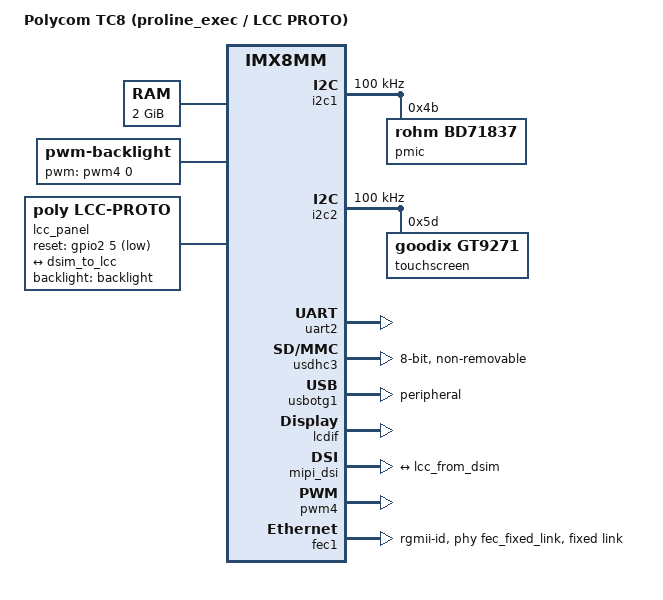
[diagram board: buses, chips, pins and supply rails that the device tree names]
// SPDX-License-Identifier: (GPL-2.0+ OR MIT)
/*
 * Polycom TC8 (codename proline_exec / LCC PROTO) — u-boot minimal DTS
 *
 * Derived from the proven C60 (kepler_proto1) minimal u-boot DTS. Per the
 * stock TC8 DTB (re/firmware/_archive_pre_release/lcc.dtb, decompiled
 * 2026-05-16, model "Polycom TC8 (LCC PROTO)") TC8 mirrors C60:
 *   - 2 GiB LPDDR4 (shared timing table; symlinked board/lpddr4_timing.c)
 *   - PMIC: Rohm BD71837 @ i2c1 0x4b   (stock: i2c@30a20000 pmic@4b)
 *   - usdhc3 (eMMC), non-removable     (stock: mmc@30b60000)
 *   - uart2 console                    (stock stdout = serial@30890000)
 *
 * TC8-specific add vs. the C60 minimal DTS:
 *   - i2c2 + Goodix GT9271 touchscreen @ 0x5d (stock: i2c@30a30000
 *     touchscreen@5d "goodix,gt9271", IRQ GPIO1_IO9, size 800x1280).
 *     F1 (gesture boot-selector) polls the GT9271 status register over
 *     I2C2 — no IRQ/reset GPIO wired here on purpose (stock node has no
 *     reset-gpios; polling avoids the GPIO1_IO9 shared-IRQ with adv7535).
 *     Address quirk: 0x5d default, 0x14 if INT held at reset — handled
 *     in the F1 reader, not here. See ../../../../UNLOCK_SPEC.md §7a.
 *
 * Panel / DSI / backlight are intentionally absent (F2 splash is staged
 * after the panel pipeline is proven — UNLOCK_SPEC.md §5). This DTS only
 * has what u-boot needs to: enumerate eMMC, talk to UART2, reach
 * fastboot/SDP, and probe the touch controller for the boot selector.
 */

/dts-v1/;

#include <dt-bindings/usb/pd.h>
#include <dt-bindings/gpio/gpio.h>
#include "imx8mm.dtsi"

/ {
	model = "Polycom TC8 (proline_exec / LCC PROTO)";
	compatible = "poly,tc8", "fsl,imx8mm";

	chosen {
		stdout-path = &uart2;
	};

	memory@40000000 {
		device_type = "memory";
		reg = <0x0 0x40000000 0 0x80000000>;
	};

	aliases {
		mmc0 = &usdhc3;        /* eMMC */
		serial0 = &uart2;      /* console */
		usbgadget0 = &usbg1;
	};

	/*
	 * DM USB-gadget binding node. ci-udc-otg (UCLASS_USB_GADGET_GENERIC)
	 * only binds to "fsl,imx27-usb-gadget" with a chipidea,usb phandle.
	 * NXP supply this via imx8mm-evk-u-boot.dtsi; our standalone DTS has
	 * no matching -u-boot.dtsi, so without this node fastboot/ums fail
	 * with "No USB device found / USB init failed: -19". This single node
	 * makes the gadget controller enumerate (proven on C60).
	 */
	usbg1: usbg1 {
		compatible = "fsl,imx27-usb-gadget";
		dr_mode = "peripheral";
		chipidea,usb = <&usbotg1>;
		status = "okay";
	};
};

&i2c1 {
	clock-frequency = <100000>;
	pinctrl-names = "default";
	pinctrl-0 = <&pinctrl_i2c1>;
	status = "okay";

	pmic@4b {
		compatible = "rohm,bd71837";
		reg = <0x4b>;
		/* SPL hits this via the legacy power_bd71837_init() path; child
		 * regulators need not be enumerated for boot-time use. */
	};
};

&i2c2 {
	clock-frequency = <100000>;
	pinctrl-names = "default";
	pinctrl-0 = <&pinctrl_i2c2>;
	status = "okay";

	/*
	 * Goodix GT9271 multitouch — F1 boot-selector reads finger count
	 * from status reg 0x814E over I2C2. reg=0x5d is the GT9 reset
	 * default; the device may answer at 0x14 if INT was held at reset
	 * (the F1 reader tries 0x5d then 0x14). No irq/reset GPIO wired:
	 * F1 polls, it does not use the IRQ.
	 */
	touchscreen@5d {
		compatible = "goodix,gt9271";
		reg = <0x5d>;
		touchscreen-size-x = <800>;
		touchscreen-size-y = <1280>;
		status = "okay";
	};
};

&uart2 {
	pinctrl-names = "default";
	pinctrl-0 = <&pinctrl_uart2>;
	status = "okay";
};

&usdhc3 {
	assigned-clocks = <&clk IMX8MM_CLK_USDHC3_ROOT>;
	assigned-clock-rates = <400000000>;
	pinctrl-names = "default", "state_100mhz", "state_200mhz";
	pinctrl-0 = <&pinctrl_usdhc3>;
	pinctrl-1 = <&pinctrl_usdhc3_100mhz>;
	pinctrl-2 = <&pinctrl_usdhc3_200mhz>;
	bus-width = <8>;
	non-removable;
	status = "okay";
};

&usbotg1 {
	/*
	 * Force peripheral mode (no TCPC on this board — same as C60).
	 * With "otg" the ehci-mx6 driver never registers a
	 * UCLASS_USB_GADGET_GENERIC device and fastboot/ums fail with -19.
	 */
	dr_mode = "peripheral";
	srp-disable;
	hnp-disable;
	adp-disable;
	power-active-high;
	disable-over-current;
	status = "okay";
};

&iomuxc {
	pinctrl_i2c1: i2c1grp {
		fsl,pins = <
			MX8MM_IOMUXC_I2C1_SCL_I2C1_SCL                  0x400001c3
			MX8MM_IOMUXC_I2C1_SDA_I2C1_SDA                  0x400001c3
		>;
	};

	pinctrl_i2c2: i2c2grp {
		fsl,pins = <
			MX8MM_IOMUXC_I2C2_SCL_I2C2_SCL                  0x400001c3
			MX8MM_IOMUXC_I2C2_SDA_I2C2_SDA                  0x400001c3
		>;
	};

	pinctrl_uart2: uart2grp {
		fsl,pins = <
			MX8MM_IOMUXC_UART2_RXD_UART2_DCE_RX             0x140
			MX8MM_IOMUXC_UART2_TXD_UART2_DCE_TX             0x140
		>;
	};

	/* Same byte values as EVK — i.MX8MM USDHC3 pads are SoC-fixed */
	pinctrl_usdhc3: usdhc3grp {
		fsl,pins = <
			MX8MM_IOMUXC_NAND_WE_B_USDHC3_CLK               0x190
			MX8MM_IOMUXC_NAND_WP_B_USDHC3_CMD               0x1d0
			MX8MM_IOMUXC_NAND_DATA04_USDHC3_DATA0           0x1d0
			MX8MM_IOMUXC_NAND_DATA05_USDHC3_DATA1           0x1d0
			MX8MM_IOMUXC_NAND_DATA06_USDHC3_DATA2           0x1d0
			MX8MM_IOMUXC_NAND_DATA07_USDHC3_DATA3           0x1d0
			MX8MM_IOMUXC_NAND_RE_B_USDHC3_DATA4             0x1d0
			MX8MM_IOMUXC_NAND_CE2_B_USDHC3_DATA5            0x1d0
			MX8MM_IOMUXC_NAND_CE3_B_USDHC3_DATA6            0x1d0
			MX8MM_IOMUXC_NAND_CLE_USDHC3_DATA7              0x1d0
			MX8MM_IOMUXC_NAND_CE1_B_USDHC3_STROBE           0x190
		>;
	};
	pinctrl_usdhc3_100mhz: usdhc3-100mhzgrp {
		fsl,pins = <
			MX8MM_IOMUXC_NAND_WE_B_USDHC3_CLK               0x194
			MX8MM_IOMUXC_NAND_WP_B_USDHC3_CMD               0x1d4
			MX8MM_IOMUXC_NAND_DATA04_USDHC3_DATA0           0x1d4
			MX8MM_IOMUXC_NAND_DATA05_USDHC3_DATA1           0x1d4
			MX8MM_IOMUXC_NAND_DATA06_USDHC3_DATA2           0x1d4
			MX8MM_IOMUXC_NAND_DATA07_USDHC3_DATA3           0x1d4
			MX8MM_IOMUXC_NAND_RE_B_USDHC3_DATA4             0x1d4
			MX8MM_IOMUXC_NAND_CE2_B_USDHC3_DATA5            0x1d4
			MX8MM_IOMUXC_NAND_CE3_B_USDHC3_DATA6            0x1d4
			MX8MM_IOMUXC_NAND_CLE_USDHC3_DATA7              0x1d4
			MX8MM_IOMUXC_NAND_CE1_B_USDHC3_STROBE           0x194
		>;
	};
	pinctrl_usdhc3_200mhz: usdhc3-200mhzgrp {
		fsl,pins = <
			MX8MM_IOMUXC_NAND_WE_B_USDHC3_CLK               0x196
			MX8MM_IOMUXC_NAND_WP_B_USDHC3_CMD               0x1d6
			MX8MM_IOMUXC_NAND_DATA04_USDHC3_DATA0           0x1d6
			MX8MM_IOMUXC_NAND_DATA05_USDHC3_DATA1           0x1d6
			MX8MM_IOMUXC_NAND_DATA06_USDHC3_DATA2           0x1d6
			MX8MM_IOMUXC_NAND_DATA07_USDHC3_DATA3           0x1d6
			MX8MM_IOMUXC_NAND_RE_B_USDHC3_DATA4             0x1d6
			MX8MM_IOMUXC_NAND_CE2_B_USDHC3_DATA5            0x1d6
			MX8MM_IOMUXC_NAND_CE3_B_USDHC3_DATA6            0x1d6
			MX8MM_IOMUXC_NAND_CLE_USDHC3_DATA7              0x1d6
			MX8MM_IOMUXC_NAND_CE1_B_USDHC3_STROBE           0x196
		>;
	};
};

/*
 * --- F2: panel + backlight (poly,lcc-proto) -------------------------------
 * Stock TC8 lcc.dtb: LCDIF (594/500/200 MHz == imx8mm.dtsi base) ->
 * fsl,imx8mm-mipi-dsim -> panel "poly,lcc-proto" (4-lane, reset GPIO2_IO5
 * active-low) -> PWM4 backlight (period 25000 ns, default 250/255). The
 * base imx8mm.dtsi already carries the lcdif<->dsi endpoint graph; here we
 * enable it and retarget the DSI host compatible to the u-boot sec-dsi
 * host driver ("samsung,sec-mipi-dsi", drivers/video/nxp/imx/
 * sec_mipi_dsim.c). Panel driver = the LCC variant added to
 * raydium-rm67191.c (deterministic RE'd MCS + stock 800x1280/76.5564MHz).
 * On-device (#8): DSIM PMS lock at that pixclk + the two PROVISIONAL
 * pinmux pads below must be confirmed vs stock backlightgrp.
 */
/ {
	backlight: backlight {
		compatible = "pwm-backlight";
		pwms = <&pwm4 0 25000 0>;          /* stock period 0x61a8 = 25000 ns */
		brightness-levels = <0 255>;
		num-interpolated-steps = <255>;
		default-brightness-level = <250>;  /* stock 0xfa */
	};

	/*
	 * Panel must be a TOP-LEVEL node (NOT a &mipi_dsi child w/ reg=<0>):
	 * u-boot video_link (video_link.c video_link_add_node) only chains a
	 * remote it can resolve via find_device_by_ofnode() to a DM-bound
	 * udevice. Top-level nodes are DM-bound during the normal DT scan;
	 * a DSI-host child is not, so it never enters the chain and
	 * rm67191 .get_display_timing is never called. This mirrors NXP's
	 * vendored imx8mm-evk.dtsi `rm67199_panel` structure exactly (the
	 * proven shape for this u-boot's sec_mipi_dsim + video_link).
	 */
	lcc_panel: lcc-panel {
		compatible = "poly,lcc-proto";
		pinctrl-names = "default";
		pinctrl-0 = <&pinctrl_disp_reset>;
		/* rm67191 u-boot driver requests "reset-gpio" (singular) */
		reset-gpio = <&gpio2 5 GPIO_ACTIVE_LOW>;
		dsi-lanes = <4>;
		video-mode = <0>;                  /* 0 = burst (stock: video/burst+HSE) */
		backlight = <&backlight>;
		status = "okay";

		port {
			lcc_from_dsim: endpoint {
				remote-endpoint = <&dsim_to_lcc>;
			};
		};
	};

	/*
	 * UCLASS_DSI_HOST back-end (sec_mipi_dsim, compatible
	 * "samsung,sec-mipi-dsi"). imx_sec_dsim (the VIDEO_BRIDGE bound to
	 * &mipi_dsi) grabs this via uclass_get_device(UCLASS_DSI_HOST, 0).
	 * Must be a SEPARATE top-level node, not the &mipi_dsi compatible.
	 * Verbatim from NXP vendored imx8mm-evk.dtsi dsi_host.
	 */
	dsi_host: dsi-host {
		compatible = "samsung,sec-mipi-dsi";
		status = "okay";
	};
};

/*
 * u-boot drivers/video/mxsfb.c mxs_of_get_timings() REQUIRES the lcdif
 * node to carry `display = <&phandle>` -> a node with `bits-per-pixel`,
 * else it errors "required display property isn't provided" and the
 * video uclass never probes (vtest -> "no video device"). Mirror NXP's
 * own u-boot reference (vendored imx8mm-evk.dtsi &lcdif/display0). The
 * display-timings here are the deterministic RE'd stock lcc-proto values
 * (raydium-rm67191.c lcc_proto_timing) so mxsfb's fallback
 * ofnode_decode_display_timing() gets correct timings even if the
 * video_link panel walk does not resolve.
 */
&lcdif {
	display = <&display0>;
	status = "okay";

	display0: display@0 {
		bits-per-pixel = <24>;
		bus-width = <24>;

		display-timings {
			native-mode = <&timing_lcc>;
			timing_lcc: timing-lcc {
				clock-frequency = <76556400>;
				hactive = <800>;
				vactive = <1280>;
				hfront-porch = <81>;
				hback-porch = <81>;
				hsync-len = <12>;
				vfront-porch = <8>;
				vback-porch = <18>;
				vsync-len = <4>;
				hsync-active = <0>;   /* NHSYNC */
				vsync-active = <0>;   /* NVSYNC */
				de-active = <0>;      /* DE_LOW */
				pixelclk-active = <1>;
			};
		};
	};
};

&mipi_dsi {
	/*
	 * Keep base imx8mm.dtsi compatible "fsl,imx8mm-mipi-dsim" — it binds
	 * the u-boot UCLASS_VIDEO_BRIDGE driver `imx_sec_dsim`
	 * (drivers/video/nxp/imx/sec_dsim_imx.c), which is the device mxsfb
	 * actually drives: video_bridge_attach() -> imx_sec_dsim_attach()
	 * (grabs the panel + UCLASS_DSI_HOST back-end + timings) and
	 * video_bridge_set_backlight() -> panel_enable_backlight() +
	 * dsi_host_enable(). Overriding to "samsung,sec-mipi-dsi" binds the
	 * UCLASS_DSI_HOST back-end DIRECTLY as this node, which mxsfb does
	 * NOT handle -> no bridge/backlight/panel enable -> dark panel.
	 * The DSI_HOST back-end is the separate top-level `dsi-host` node
	 * (added in / {}). This mirrors NXP imx8mm-evk.dtsi exactly.
	 *
	 * base also wires port@0 (input from lcdif). Add the output port
	 * toward the top-level lcc_panel so video_link traverses
	 * lcdif -> imx_sec_dsim -> panel.
	 */
	status = "okay";

	port@1 {
		dsim_to_lcc: endpoint {
			remote-endpoint = <&lcc_from_dsim>;
		};
	};
};

&pwm4 {
	pinctrl-names = "default";
	pinctrl-0 = <&pinctrl_pwm4>;
	status = "okay";
};

&iomuxc {
	/*
	 * pwm4: DETERMINISTIC — stock lcc.dtb pwm4grp <0x64 0x2cc..0x05..0x10>
	 *   = GPIO1_IO15 ALT5 PWM4_OUT, pad-conf 0x10; pwm4 == pwm@30690000
	 *   (the stock backlight `pwms` target). Not guessed.
	 * disp_reset: PROVISIONAL — stock has no explicit disp-reset group;
	 *   GPIO2_IO5 == SD1_DATA3 pad (ALT5). Confirm drive strength at #8.
	 */
	pinctrl_disp_reset: dispresetgrp {
		fsl,pins = <
			MX8MM_IOMUXC_SD1_DATA3_GPIO2_IO5            0x19
		>;
	};
	pinctrl_pwm4: pwm4grp {
		fsl,pins = <
			MX8MM_IOMUXC_GPIO1_IO15_PWM4_OUT            0x10
		>;
	};
};

/*
 * F3 networking (G1): bring FEC up as a FIXED-LINK 1G/full RGMII MAC.
 *
 * TC8 wires the i.MX8MM FEC (ENET1) via RGMII to an RTL8363NB-VB L2
 * switch (chip-id 0x1cc943, MDIO addr 0x1d). The switch is STATEFUL
 * external silicon: stock signed u-boot 2018.03 fully initialises it
 * (jam-table + 8051 fw + transparent-forwarding mode — "Switch:
 * RTL8363NB-VB(0x1cc943)") and then chainloads us via `go`, which does
 * NOT reset that chip. So our stage-2 INHERITS a fully-configured
 * transparent switch; from the FEC's side it is just a fixed 1G/full
 * RGMII link and the chip forwards CPU<->wire in HW. We therefore need
 * NO RTL8363 driver, NO MDIO/switch node, and CRUCIALLY must NOT drive
 * the eth-reset GPIO (GPIO5_IO02) — pulsing it would wipe stock's init
 * and we carry no replacement init in stage-2. pinctrl_fec1 = the
 * standard i.MX8MM RGMII pad group (EVK-template, SoC-portable),
 * MINUS any reset pad. Deterministic bet: switch state persists across
 * the warm `go` handoff. Verified by `dhcp`+`ping` at the prompt.
 */
&fec1 {
	pinctrl-names = "default";
	pinctrl-0 = <&pinctrl_fec1>;
	phy-mode = "rgmii-id";
	phy-handle = <&fec_fixed_link>;
	status = "okay";

	fec_fixed_link: fixed-link {
		speed = <1000>;
		full-duplex;
	};
};

&iomuxc {
	pinctrl_fec1: fec1grp {
		fsl,pins = <
			MX8MM_IOMUXC_ENET_MDC_ENET1_MDC			0x3
			MX8MM_IOMUXC_ENET_MDIO_ENET1_MDIO		0x3
			MX8MM_IOMUXC_ENET_TD3_ENET1_RGMII_TD3		0x1f
			MX8MM_IOMUXC_ENET_TD2_ENET1_RGMII_TD2		0x1f
			MX8MM_IOMUXC_ENET_TD1_ENET1_RGMII_TD1		0x1f
			MX8MM_IOMUXC_ENET_TD0_ENET1_RGMII_TD0		0x1f
			MX8MM_IOMUXC_ENET_RD3_ENET1_RGMII_RD3		0x91
			MX8MM_IOMUXC_ENET_RD2_ENET1_RGMII_RD2		0x91
			MX8MM_IOMUXC_ENET_RD1_ENET1_RGMII_RD1		0x91
			MX8MM_IOMUXC_ENET_RD0_ENET1_RGMII_RD0		0x91
			MX8MM_IOMUXC_ENET_TXC_ENET1_RGMII_TXC		0x1f
			MX8MM_IOMUXC_ENET_RXC_ENET1_RGMII_RXC		0x91
			MX8MM_IOMUXC_ENET_RX_CTL_ENET1_RGMII_RX_CTL	0x91
			MX8MM_IOMUXC_ENET_TX_CTL_ENET1_RGMII_TX_CTL	0x1f
		>;
	};
};
